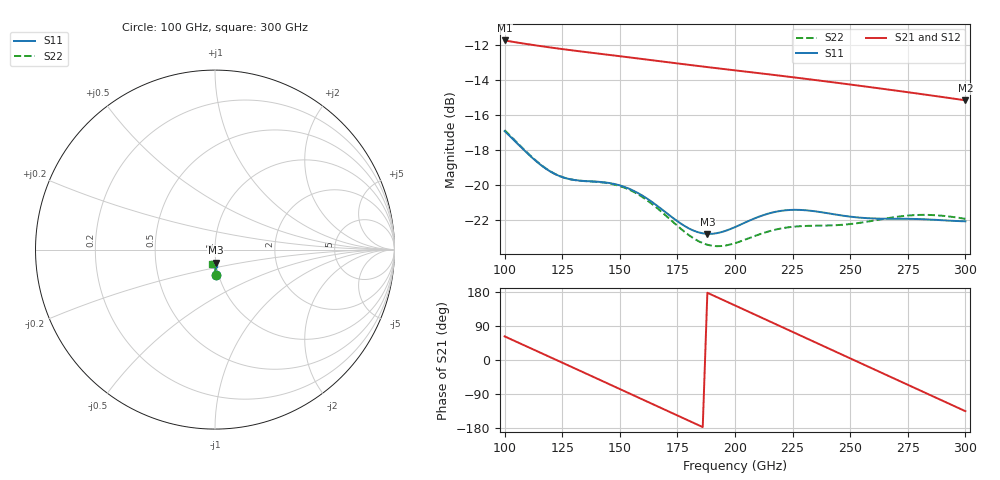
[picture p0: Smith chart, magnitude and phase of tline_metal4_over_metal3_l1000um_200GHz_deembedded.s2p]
! Created with skrf 2.0.1 (http://scikit-rf.org).
# GHz S DB R 50.0
!freq dBS11 angS11 dBS21 angS21 dBS12 angS12 dBS22 angS22
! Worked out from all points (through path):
!   101 points, 100 GHz to 300 GHz, reference 50 ohm
!   highest |S21| = -11.75 dB at 100 GHz (marker M1); lowest = -15.2 dB at 300 GHz (marker M2)
!   group delay of S21, straight-line fit = 7.75 ps
!   lowest |S11| = -22.8 dB at 188 GHz (marker M3), VSWR 1.16, Z = 49.9 - j7.24 ohm
!   |S11| at or under -10 dB: start of sweep to end of sweep
!   |S22| runs from -23.5 to -16.9 dB; largest |S21 - S12| = 2.8e-13
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100  -16.93 -87.6  -11.75 62.3  -11.75 62.3  -16.88 -86.7
110  -18.22 -89.8  -11.96 34.6  -11.96 34.6  -18.19 -89.0
118  -19.09 -89.0  -12.11 12.4  -12.11 12.4  -19.08 -88.3
126  -19.61 -87.1  -12.26 -9.8  -12.26 -9.8  -19.60 -86.5
134  -19.78 -86.1  -12.39 -32.0  -12.39 -32.0  -19.79 -85.8
144  -19.88 -87.5  -12.55 -59.9  -12.55 -59.9  -19.90 -87.6
152  -20.13 -90.2  -12.68 -82.2  -12.68 -82.2  -20.17 -90.7
160  -20.64 -92.8  -12.81 -104.5  -12.81 -104.5  -20.72 -93.9
168  -21.39 -94.1  -12.94 -126.9  -12.94 -126.9  -21.54 -95.9
178  -22.35 -92.2  -13.11 -154.7  -13.11 -154.7  -22.69 -94.9
188  -22.81 -86.9  -13.27 177.4  -13.27 177.4  -23.44 -89.9
200  -22.43 -81.8  -13.46 143.9  -13.46 143.9  -23.35 -83.6
210  -21.85 -81.7  -13.61 116.0  -13.61 116.0  -22.87 -82.0
218  -21.54 -83.6  -13.74 93.7  -13.74 93.7  -22.56 -82.8
226  -21.44 -86.0  -13.87 71.3  -13.87 71.3  -22.40 -84.2
234  -21.51 -88.3  -14.00 49.0  -14.00 49.0  -22.35 -85.6
242  -21.67 -89.7  -14.13 26.6  -14.13 26.6  -22.33 -86.5
250  -21.83 -90.5  -14.27 4.3  -14.27 4.3  -22.25 -87.2
258  -21.92 -90.8  -14.41 -18.0  -14.41 -18.0  -22.10 -88.2
268  -21.95 -91.2  -14.58 -45.9  -14.58 -45.9  -21.88 -90.4
284  -21.99 -92.6  -14.87 -90.5  -14.87 -90.5  -21.73 -95.6
300  -22.10 -93.3  -15.17 -135.0  -15.17 -135.0  -21.95 -100.8
